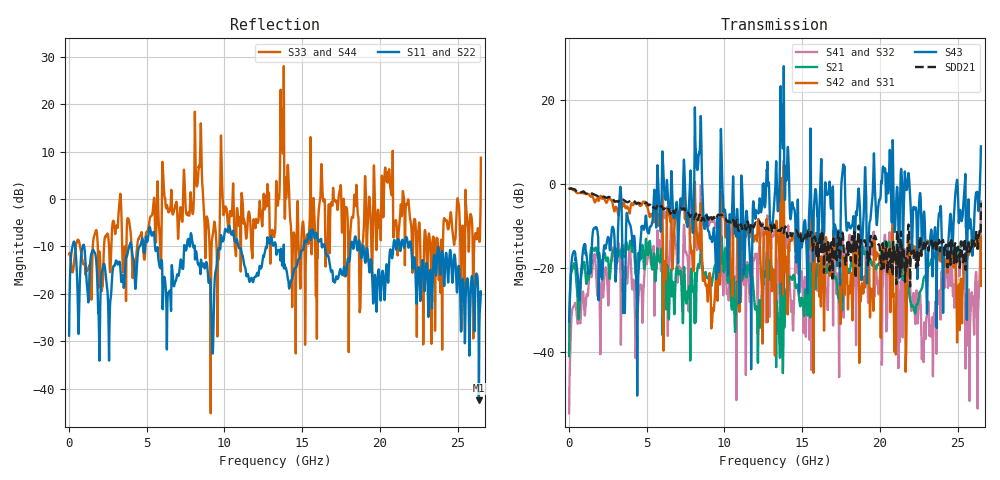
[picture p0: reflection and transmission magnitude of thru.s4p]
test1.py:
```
import skrf as rf

import matplotlib.pyplot as plt
from pathlib import Path
import sys

ntw = rf.Network('thru.s4p')         # reads RI just fine
ntw.write_touchstone('thru_ma', form='ma')    # => thru_ma.s4p (|S|∠θ)
ntw.write_touchstone('thru_db', form='db')
```
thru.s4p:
! Created with skrf (http://scikit-rf.org).
# Hz S RI R 50.0
!freq ReS11 ImS11 ReS12 ImS12 ReS13 ImS13
! ReS14 ImS14
! ReS21 ImS21 ReS22 ImS22 ReS23 ImS23
! ReS24 ImS24
! ReS31 ImS31 ReS32 ImS32 ReS33 ImS33
! ReS34 ImS34
! ReS41 ImS41 ReS42 ImS42 ReS43 ImS43
! ReS44 ImS44
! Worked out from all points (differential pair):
!   2650 points, 10 MHz to 26.5 GHz, reference 50 ohm
!   strongest paths, dB at 10 MHz, 6.63 GHz, 13.26 GHz, 19.88 GHz, 26.5 GHz:
!     S43: -32.7, -1.1, -1.8, -6.1, 8.9
!     S42: -1.1, -16.5, -34.4, -16.6, -24.2
!     S31: -1.1, -16.5, -34.4, -16.6, -24.2
!     S21: -40.9, -24.9, -23.5, -19.2, -13.3
!     S41: -54.5, -3.9, -10.2, -25.2, -4.2
!     S32: -54.5, -3.9, -10.2, -25.2, -4.2
!   taken as a pair (ports 2,1 in; 4,3 out), SDD21 dB: -1.1, -6.1, -10.4, -14.3, -4.5
!   lowest |S11| = -42.4 dB at 26.37 GHz (marker M1), VSWR 1.02, Z = 50.7 - j0.168 ohm
!   |S11| at or under -10 dB: 980.5 MHz to 3.882 GHz (2.902 GHz wide, 119 % of centre); 18.94 GHz to 20.87 GHz (1.923 GHz wide, 9.66 % of centre); 22.02 GHz to end of sweep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
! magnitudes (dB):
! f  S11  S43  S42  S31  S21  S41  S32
! 10 MHz  -28.8  -32.7  -1.1  -1.1  -40.9  -54.5  -54.5
! 26.37 GHz  -42.4  -6.1  -14.1  -14.1  -14.0  -26.5  -26.5
! 26.5 GHz  -20.1  8.9  -24.2  -24.2  -13.3  -4.2  -4.2
